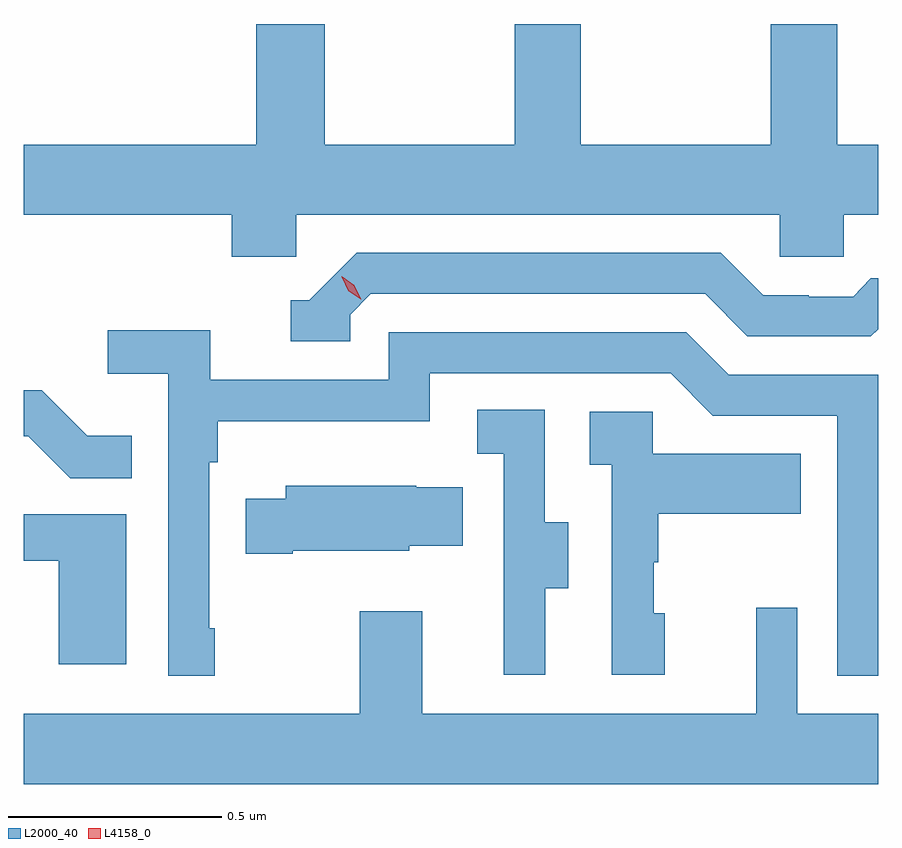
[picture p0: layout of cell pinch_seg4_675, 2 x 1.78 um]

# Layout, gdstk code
import gdstk
lib = gdstk.Library(unit=1e-6, precision=1e-09)
def P(c, l, *ps):  # polygons
    for p in ps: c.add(gdstk.Polygon(p, *l))
L2000_40 = (2000, 40)
L4158_0 = (4158, 0)

pinch_seg4_675 = lib.new_cell('pinch_seg4_675')
P(pinch_seg4_675, L2000_40, [(1142.922,762.188),(1144.053,762.188),(1144.053,762.09),(1144.203,762.09),(1144.203,762.188),(1144.284,762.188),(1144.284,762.352),(1144.188,762.352),(1144.188,762.635),(1144.033,762.635),(1144.033,762.352),(1143.588,762.352),(1143.588,762.635),(1143.433,762.635),(1143.433,762.352),(1142.988,762.352),(1142.988,762.635),(1142.828,762.635),(1142.828,762.352),(1142.284,762.352),(1142.284,762.188),(1142.771,762.188),(1142.771,762.09),(1142.922,762.09)],
  [(1143.048,761.955),(1143.096,762.003),(1143.879,762.003),(1143.978,761.904),(1144.267,761.904),(1144.284,761.921),(1144.284,762.04),(1144.267,762.04),(1144.225,761.997),(1144.122,761.997),(1144.122,762),(1144.015,762),(1143.916,762.099),(1143.063,762.099),(1142.952,761.988),(1142.909,761.988),(1142.909,761.892),(1143.048,761.892)],
  [(1142.731,761.221),(1142.718,761.221),(1142.718,761.609),(1142.738,761.609),(1142.738,761.705),(1143.234,761.705),(1143.234,761.817),(1143.798,761.817),(1143.897,761.718),(1144.188,761.718),(1144.188,761.109),(1144.284,761.109),(1144.284,761.814),(1143.934,761.814),(1143.835,761.913),(1143.138,761.913),(1143.138,761.802),(1142.72,761.802),(1142.72,761.918),(1142.481,761.918),(1142.481,761.816),(1142.622,761.816),(1142.622,761.109),(1142.731,761.109)],
  [(1142.537,761.671),(1142.433,761.671),(1142.326,761.778),(1142.284,761.778),(1142.284,761.67),(1142.295,761.67),(1142.393,761.572),(1142.537,761.572)],
  [(1143.505,761.314),(1143.559,761.314),(1143.559,761.469),(1143.504,761.469),(1143.504,761.732),(1143.345,761.732),(1143.345,761.629),(1143.408,761.629),(1143.408,761.325),(1143.407,761.325),(1143.407,761.112),(1143.505,761.112)],
  [(1143.784,761.256),(1143.759,761.256),(1143.759,761.375),(1143.769,761.375),(1143.769,761.489),(1144.103,761.489),(1144.103,761.629),(1143.756,761.629),(1143.756,761.727),(1143.609,761.727),(1143.609,761.603),(1143.66,761.603),(1143.66,761.112),(1143.784,761.112)],
  [(1142.914,761.402),(1143.186,761.402),(1143.186,761.414),(1143.311,761.414),(1143.311,761.551),(1143.203,761.551),(1143.203,761.554),(1142.897,761.554),(1142.897,761.524),(1142.803,761.524),(1142.803,761.395),(1142.914,761.395)],
  [(1142.524,761.487),(1142.284,761.487),(1142.284,761.379),(1142.366,761.379),(1142.366,761.136),(1142.524,761.136)],
  [(1144.284,761.02),(1144.095,761.02),(1144.095,761.269),(1143.998,761.269),(1143.998,761.02),(1143.217,761.02),(1143.217,761.26),(1143.07,761.26),(1143.07,761.02),(1142.284,761.02),(1142.284,760.856),(1144.284,760.856)])
P(pinch_seg4_675, L4158_0, [(1143.073,761.991),(1143.043,762.011),(1143.028,762.043),(1143.028,762.044),(1143.028,762.044),(1143.058,762.024),(1143.074,761.991),(1143.074,761.991)])

lib.write_gds('pinch_seg4_675.gds')
